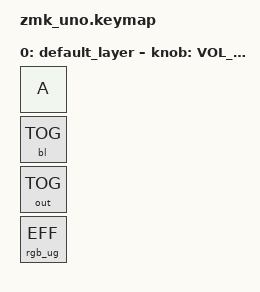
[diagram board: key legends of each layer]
/*
 * Copyright (c) 2022 The ZMK Contributors
 *
 * SPDX-License-Identifier: MIT
 */

 #include <behaviors.dtsi>
 #include <dt-bindings/zmk/keys.h>
 #include <dt-bindings/zmk/backlight.h>
 #include <dt-bindings/zmk/bt.h>
 #include <dt-bindings/zmk/ext_power.h>
 #include <dt-bindings/zmk/outputs.h>
 #include <dt-bindings/zmk/rgb.h>
 
 / {
     keymap {
         compatible = "zmk,keymap";
 
         default_layer {
             bindings = <
              &kp A
              &bl BL_TOG
              &out OUT_TOG
	      &rgb_ug RGB_EFF
             >;
	
	    sensor-bindings = <&inc_dec_kp C_VOL_UP C_VOL_DN>;
         };
     };
 };
